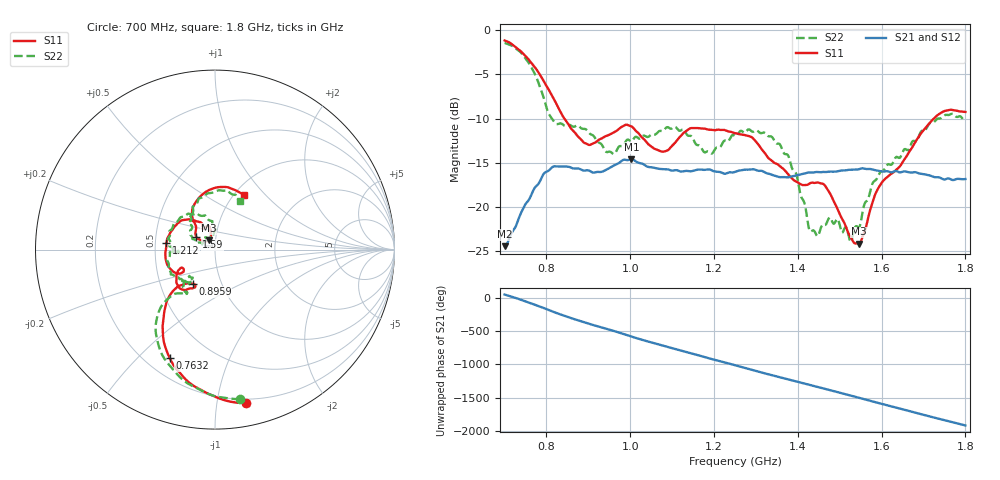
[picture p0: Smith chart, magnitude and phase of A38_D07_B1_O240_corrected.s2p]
! Created with skrf 1.9.0 (http://scikit-rf.org).
# Hz S RI R 50.0
!freq ReS11 ImS11 ReS21 ImS21 ReS12 ImS12 ReS22 ImS22
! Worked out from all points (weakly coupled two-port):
!   1601 points, 700 MHz to 1.8 GHz, reference 50 ohm
!   highest |S21| = -14.60 dB at 1.002 GHz (marker M1); lowest = -24.4 dB at 700 MHz (marker M2)
!   lowest |S11| = -24.2 dB at 1.546 GHz (marker M3), VSWR 1.13, Z = 46.4 + j4.78 ohm
!   |S11| at or under -10 dB: 842.6 MHz to 1.725 GHz (882 MHz wide, 68.7 % of centre)
!   |S22| runs from -23.9 to -1.5 dB; largest |S21 - S12| = 0.0035
!   S11 on the Smith chart (normalised r, x): 700 MHz: 0.17, -1.21; 763.2 MHz: 0.30, -0.62; 895.9 MHz: 0.73, -0.29; 1.212 GHz: 0.57, +0.04; 1.59 GHz: 0.80, +0.12; 1.8 GHz: 1.11, +0.77
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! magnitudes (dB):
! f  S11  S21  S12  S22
! 700 MHz  -1.2  -24.4  -24.2  -1.5
! 763.2 MHz  -3.7  -18.7  -18.7  -4.1
! 817.6 MHz  -7.8  -15.4  -15.5  -10.3
! 883.6 MHz  -12.4  -15.8  -15.7  -11.1
! 895.9 MHz  -12.9  -15.8  -15.9  -11.3
! 958.5 MHz  -11.6  -15.4  -15.4  -14.0
! 1.002 GHz  -10.9  -14.6  -14.7  -12.6
! 1.067 GHz  -13.6  -15.7  -15.6  -11.5
! 1.143 GHz  -11.1  -16.0  -16.0  -11.9
! 1.212 GHz  -11.3  -16.0  -16.0  -13.3
! 1.25 GHz  -11.7  -16.0  -16.0  -12.0
! 1.357 GHz  -15.4  -16.6  -16.6  -12.9
! 1.396 GHz  -17.1  -16.4  -16.4  -16.2
! 1.434 GHz  -17.2  -16.1  -16.1  -22.7
! 1.466 GHz  -17.6  -16.0  -16.0  -22.0
! 1.494 GHz  -20.1  -16.0  -16.0  -21.3
! 1.526 GHz  -23.4  -15.8  -15.8  -23.9
! 1.546 GHz  -24.2  -15.7  -15.7  -22.3
! 1.59 GHz  -18.0  -15.9  -15.9  -16.6
! 1.617 GHz  -16.5  -16.0  -16.0  -15.2
! 1.732 GHz  -9.7  -16.6  -16.6  -10.1
! 1.8 GHz  -9.3  -16.8  -16.8  -10.3
